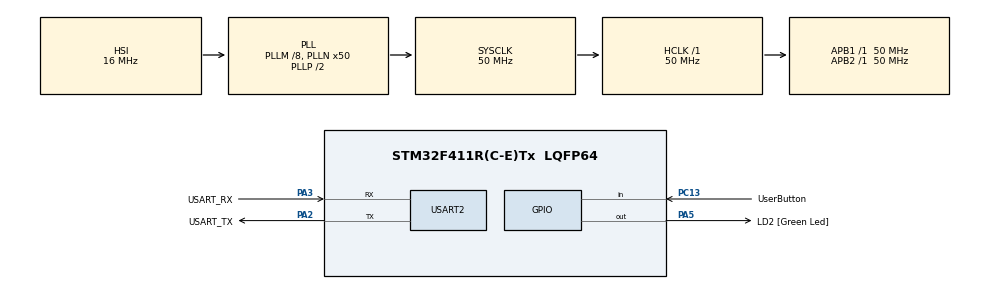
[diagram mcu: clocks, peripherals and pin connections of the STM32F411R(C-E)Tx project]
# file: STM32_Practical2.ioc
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Mcu.Family=STM32F4
Mcu.Name=STM32F411R(C-E)Tx
Mcu.Package=LQFP64
NVIC.PriorityGroup=NVIC_PRIORITYGROUP_0
PA13.GPIO_Label=TMS
PA13.Mode=Serial_Wire
PA13.Signal=SYS_JTMS-SWDIO
PA14.GPIO_Label=TCK
PA14.Mode=Serial_Wire
PA14.Signal=SYS_JTCK-SWCLK
PA2.GPIO_Label=USART_TX
PA2.Mode=Asynchronous
PA2.Signal=USART2_TX
PA3.GPIO_Label=USART_RX
PA3.Mode=Asynchronous
PA3.Signal=USART2_RX
PA5.GPIO_Label=LD2 [Green Led]
PA5.Signal=GPIO_Output
PB3.GPIO_Label=SWO
PB3.Signal=SYS_JTDO-SWO
PC13-ANTI_TAMP.GPIO_Label=UserButton
PC13-ANTI_TAMP.Signal=GPIO_Input
PC14-OSC32_IN.Mode=LSE-External-Oscillator
PC14-OSC32_IN.Signal=RCC_OSC32_IN
PC15-OSC32_OUT.Mode=LSE-External-Oscillator
PC15-OSC32_OUT.Signal=RCC_OSC32_OUT
PH0\ -\ OSC_IN.Mode=HSE-External-Clock-Source
PH0\ -\ OSC_IN.Signal=RCC_OSC_IN
PH1\ -\ OSC_OUT.Mode=HSE-External-Clock-Source
PH1\ -\ OSC_OUT.Signal=RCC_OSC_OUT
ProjectManager.HeapSize=0x200
ProjectManager.StackSize=0x400
ProjectManager.TargetToolchain=STM32CubeIDE
RCC.48MHZClocksFreq_Value=25000000
RCC.AHBFreq_Value=50000000
RCC.APB1Freq_Value=50000000
RCC.APB1TimFreq_Value=50000000
RCC.APB2Freq_Value=50000000
RCC.APB2TimFreq_Value=50000000
RCC.CortexFreq_Value=50000000
RCC.FLatency-AdvancedSettings=FLASH_LATENCY_1
RCC.HCLKFreq_Value=50000000
RCC.HSE_VALUE=8000000
RCC.HSI_VALUE=16000000
RCC.PLLM=8
RCC.PLLN=50
RCC.SYSCLKFreq_VALUE=50000000
RCC.SYSCLKSource=RCC_SYSCLKSOURCE_PLLCLK
RCC.VCOOutputFreq_Value=100000000
USART2.VirtualMode=VM_ASYNC
board=NUCLEO-F411RE

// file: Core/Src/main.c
/* USER CODE BEGIN Header */
/**
  ******************************************************************************
  * @file           : main.c
  * @brief          : Main program body
  ******************************************************************************
  * @attention
  *
  * <h2><center>&copy; Copyright (c) 2021 STMicroelectronics.
  * All rights reserved.</center></h2>
  *
  * This software component is licensed by ST under BSD 3-Clause license,
  * the "License"; You may not use this file except in compliance with the
  * License. You may obtain a copy of the License at:
  *                        opensource.org/licenses/BSD-3-Clause
  *
  ******************************************************************************
  */
/* USER CODE END Header */
#include "main.h"

/* USER CODE BEGIN Includes */
#include "RCC.h"
#include "GPIO.h"
#include "Timer.h"
#include "NVIC.h"
#include "Adc.h"
/* USER CODE END Includes */

UART_HandleTypeDef huart2;

void SystemClock_Config(void);
static void MX_GPIO_Init(void);
static void MX_USART2_UART_Init(void);
/* USER CODE BEGIN PFP */
void Practical_Experiment1();
void Practical_Experiment2();
void Practical_Experiment3();
void Practical_Experiment4();
/* USER CODE END PFP */

int main(void)
{

  /* MCU Configuration--------------------------------------------------------*/

  /* Reset of all peripherals, Initializes the Flash interface and the Systick. */
  HAL_Init();

  /* Configure the system clock */
  SystemClock_Config();

  /* Initialize all configured peripherals */
  rccResetAndUnresetGpio(Rcc_GPIOB);
  rccUnresetAndEnableTimer(RCC_TIM4);
  gpioConfigurePin(gpioB, 8, GPIO_ALT_FUNC |GPIO_PUSH_PULL| AF_2);

  MX_GPIO_Init();
  MX_USART2_UART_Init();

  /* Infinite loop */
  /* USER CODE BEGIN WHILE */
  while (1)
  {
	  //Practical_Experiment1();
	  Practical_Experiment2();
	  //Practical_Experiment3();
    /* USER CODE END WHILE */

  }
}

void SystemClock_Config(void)
{
  RCC_OscInitTypeDef RCC_OscInitStruct = {0};
  RCC_ClkInitTypeDef RCC_ClkInitStruct = {0};

  /** Configure the main internal regulator output voltage
  */
  __HAL_RCC_PWR_CLK_ENABLE();
  __HAL_PWR_VOLTAGESCALING_CONFIG(PWR_REGULATOR_VOLTAGE_SCALE1);
  /** Initializes the RCC Oscillators according to the specified parameters
  * in the RCC_OscInitTypeDef structure.
  */
  RCC_OscInitStruct.OscillatorType = RCC_OSCILLATORTYPE_HSI;
  RCC_OscInitStruct.HSIState = RCC_HSI_ON;
  RCC_OscInitStruct.HSICalibrationValue = RCC_HSICALIBRATION_DEFAULT;
  RCC_OscInitStruct.PLL.PLLState = RCC_PLL_ON;
  RCC_OscInitStruct.PLL.PLLSource = RCC_PLLSOURCE_HSI;
  RCC_OscInitStruct.PLL.PLLM = 8;
  RCC_OscInitStruct.PLL.PLLN = 50;
  RCC_OscInitStruct.PLL.PLLP = RCC_PLLP_DIV2;
  RCC_OscInitStruct.PLL.PLLQ = 4;
  if (HAL_RCC_OscConfig(&RCC_OscInitStruct) != HAL_OK)
  {
    Error_Handler();
  }
  /** Initializes the CPU, AHB and APB buses clocks
  */
  RCC_ClkInitStruct.ClockType = RCC_CLOCKTYPE_HCLK|RCC_CLOCKTYPE_SYSCLK
                              |RCC_CLOCKTYPE_PCLK1|RCC_CLOCKTYPE_PCLK2;
  RCC_ClkInitStruct.SYSCLKSource = RCC_SYSCLKSOURCE_PLLCLK;
  RCC_ClkInitStruct.AHBCLKDivider = RCC_SYSCLK_DIV1;
  RCC_ClkInitStruct.APB1CLKDivider = RCC_HCLK_DIV1;
  RCC_ClkInitStruct.APB2CLKDivider = RCC_HCLK_DIV1;

  if (HAL_RCC_ClockConfig(&RCC_ClkInitStruct, FLASH_LATENCY_1) != HAL_OK)
  {
    Error_Handler();
  }
}

static void MX_USART2_UART_Init(void)
{

  huart2.Instance = USART2;
  huart2.Init.BaudRate = 115200;
  huart2.Init.WordLength = UART_WORDLENGTH_8B;
  huart2.Init.StopBits = UART_STOPBITS_1;
  huart2.Init.Parity = UART_PARITY_NONE;
  huart2.Init.Mode = UART_MODE_TX_RX;
  huart2.Init.HwFlowCtl = UART_HWCONTROL_NONE;
  huart2.Init.OverSampling = UART_OVERSAMPLING_16;
  if (HAL_UART_Init(&huart2) != HAL_OK)
  {
    Error_Handler();
  }

}

static void MX_GPIO_Init(void)
{
  GPIO_InitTypeDef GPIO_InitStruct = {0};

  /* GPIO Ports Clock Enable */
  __HAL_RCC_GPIOC_CLK_ENABLE();
  __HAL_RCC_GPIOH_CLK_ENABLE();
  __HAL_RCC_GPIOA_CLK_ENABLE();
  __HAL_RCC_GPIOB_CLK_ENABLE();

  /*Configure GPIO pin Output Level */
  HAL_GPIO_WritePin(LD2_GPIO_Port, LD2_Pin, GPIO_PIN_RESET);

  /*Configure GPIO pin : UserButton_Pin */
  GPIO_InitStruct.Pin = UserButton_Pin;
  GPIO_InitStruct.Mode = GPIO_MODE_INPUT;
  GPIO_InitStruct.Pull = GPIO_NOPULL;
  HAL_GPIO_Init(UserButton_GPIO_Port, &GPIO_InitStruct);

  /*Configure GPIO pin : LD2_Pin */
  GPIO_InitStruct.Pin = LD2_Pin;
  GPIO_InitStruct.Mode = GPIO_MODE_OUTPUT_PP;
  GPIO_InitStruct.Pull = GPIO_NOPULL;
  GPIO_InitStruct.Speed = GPIO_SPEED_FREQ_LOW;
  HAL_GPIO_Init(LD2_GPIO_Port, &GPIO_InitStruct);

}

/* USER CODE BEGIN 4 */
void Practical_Experiment1(){
	  rccResetAndUnresetGpio(Rcc_GPIOB);
  	  rccUnresetAndEnableTimer(RCC_TIM4);
	  gpioConfigurePin(gpioB, 6, GPIO_ALT_FUNC | AF_2);		 					//tim4_ch1(button)
	  gpioConfigurePin(gpioB, 8, GPIO_ALT_FUNC |GPIO_PUSH_PULL| AF_2);			//tim4_ch3(LED)
	  tmrConfigure(tmr4, TMR_CEN_EN | TMR_ARP_EN | TMR_TS_TI1FP1 | TMR_SLAVE_GATED);
	  tmrConfigureEventGeneration(tmr4, TMR_UG_EN);
	  //tmrConfigureCaptureCompare(tmr4, 3, TMR_CC3S_OUTPUT | TMR_OC3M_PWM_MODE1 | TMR_CC3_OUTPUT_ON | TMR_CC3P_OC1_HIGH | TMR_OC3_PRELOAD_EN);
	  CaptureCompare_config_P1(tmr4);
	  set_PWM_Freq(tmr4, 1);
	  set_PWM_Duty_Cycle(tmr4, 3, 80);
	  //set_PWM_Duty_Cycle(tmr4, 3, 20);
}

void Practical_Experiment2(){
	 volatile int buttonstate;
	 buttonstate = gpioReadPin(gpioB, 6);
	  if(buttonstate)
		  //tmrConfigureCaptureCompare(tmr4, 3, TMR_CC3S_OUTPUT | TMR_OC3M_FORCE_ACTIVE | TMR_CC3_OUTPUT_ON | TMR_CC3P_OC1_HIGH);
		  CaptureCompare_config_P2_state1(tmr4);
	  else
		  //tmrConfigureCaptureCompare(tmr4, 3, TMR_CC3S_OUTPUT | TMR_OC3M_FORCE_INACTIVE | TMR_CC3_OUTPUT_ON | TMR_CC3P_OC1_HIGH);
		  CaptureCompare_config_P2_state2(tmr4);
}

void Practical_Experiment3(){
	static int counter = 0;
	rccUnresetAndEnableGpio(Rcc_GPIOB);
	rccUnresetAndEnableTimer(RCC_TIM4);

	gpioConfigurePin(gpioB, 8, GPIO_ALT_FUNC |GPIO_PUSH_PULL| GPIO_HIGH_SPEED | AF_2);		//tim4_ch3(LED)
	tmrConfigure(tmr4, TMR_URS | TMR_UIE_EN);
	tmrConfigureEventGeneration(tmr4, TMR_UG_EN);
	//tmrConfigureCaptureCompare(tmr4, 3, TMR_CC3S_OUTPUT | TMR_OC3M_TOGGLE | TMR_CC3_OUTPUT_ON | TMR_CC3P_OC1_HIGH);
	CaptureCompare_config_P3(tmr4);
	nvicEnableIrq(30);																		//Timer 4 interrupt number is 30

	set_PWM_Freq(tmr4, 1);														//1Hz
	set_PWM_Duty_Cycle(tmr4, 3, 50);											//50% duty cycle

	set_PWM_Freq(tmr4, 2);														//2Hz
	set_PWM_Duty_Cycle(tmr4, 3, 50);											//50% duty cycle

	set_PWM_Freq(tmr4, 4);														//4Hz
	set_PWM_Duty_Cycle(tmr4, 3, 50);											//50% duty cycle

}

void Practical_Experiment4(){
	  /*
	  rccUnresetAndEnableADC(RCC_ADC1);
	  Adc_setSampleTime(ADC1, 0, SAMPLE_3_CYCLE);										//channel 0, sampling time 3 cycle
	  Adc_setRegularChannel(ADC1, TIMER4_CC4_EVENT_REG  | TRIG_DET_RISING_REG);
	  Adc_setChannelSequence(ADC1, 0, 1);												//channel 0, scan only 1 channel
	  nvicEnableIrq(18);																//Enable ADC interrupt
	  Adc_Configuration(ADC1, EOC_INTERRUPT_EN| RESOLUTION_12BIT | ADC_ON | CONT_SINGLE_CONV  | RIGHT_ALIGN);
	  */
}
/* USER CODE END 4 */

void Error_Handler(void)
{
  __disable_irq();
  while (1)
  {
  }
}

/************************ (C) COPYRIGHT STMicroelectronics *****END OF FILE****/
